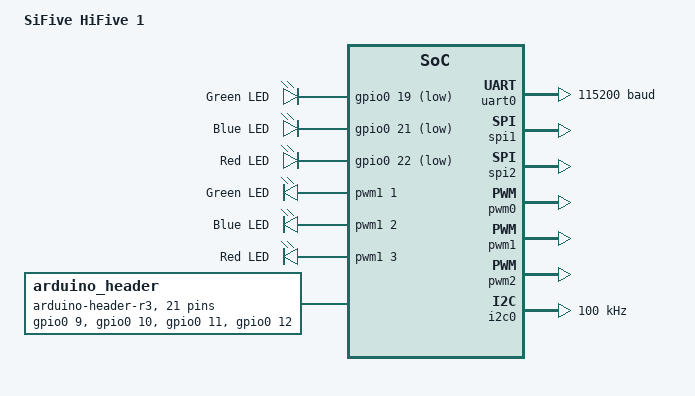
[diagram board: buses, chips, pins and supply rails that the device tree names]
/* Copyright (c) 2018 SiFive, Inc. */
/* SPDX-License-Identifier: Apache-2.0 */

/dts-v1/;

#include <sifive/riscv32-fe310.dtsi>
#include <zephyr/dt-bindings/gpio/arduino-header-r3.h>
#include <zephyr/dt-bindings/i2c/i2c.h>
#include "hifive1-pinctrl.dtsi"

/ {
	model = "SiFive HiFive 1";
	compatible = "sifive,hifive1";

	aliases {
		led0 = &led0;
		led1 = &led1;
		led2 = &led2;
		pwm-led0 = &pwmled0;
		pwm-led1 = &pwmled1;
		pwm-led2 = &pwmled2;
		watchdog0 = &wdog0;
	};

	chosen {
		zephyr,console = &uart0;
		zephyr,shell-uart = &uart0;
		zephyr,sram = &dtim;
		zephyr,flash = &flash0;
	};

	leds {
		compatible = "gpio-leds";

		led0: led_0 {
			gpios = <&gpio0 19 GPIO_ACTIVE_LOW>;
			label = "Green LED";
		};

		led1: led_1 {
			gpios = <&gpio0 21 GPIO_ACTIVE_LOW>;
			label = "Blue LED";
		};

		led2: led_2 {
			gpios = <&gpio0 22 GPIO_ACTIVE_LOW>;
			label = "Red LED";
		};
	};

	pwmleds {
		compatible = "pwm-leds";

		pwmled0: pwmled_0 {
			pwms = <&pwm1 1 PWM_MSEC(20)>;
			label = "Green LED";
		};

		pwmled1: pwmled_1 {
			pwms = <&pwm1 2 PWM_MSEC(20)>;
			label = "Blue LED";
		};

		pwmled2: pwmled_2 {
			pwms = <&pwm1 3 PWM_MSEC(20)>;
			label = "Red LED";
		};
	};

	arduino_header: connector {
		compatible = "arduino-header-r3";
		#gpio-cells = <2>;
		gpio-map-mask = <0xffffffff 0xffffffc0>;
		gpio-map-pass-thru = <0 0x3f>;
		gpio-map = /* A0 not connected */
			   <ARDUINO_HEADER_R3_A1 0 &gpio0 9 0>,		/* also CS2 */
			   <ARDUINO_HEADER_R3_A2 0 &gpio0 10 0>,	/* also WF_INT */
			   <ARDUINO_HEADER_R3_A3 0 &gpio0 11 0>,
			   <ARDUINO_HEADER_R3_A4 0 &gpio0 12 0>,
			   <ARDUINO_HEADER_R3_A5 0 &gpio0 13 0>,
			   <ARDUINO_HEADER_R3_D0 0 &gpio0 16 0>,	/* also TX */
			   <ARDUINO_HEADER_R3_D1 0 &gpio0 17 0>,	/* also RX */
			   <ARDUINO_HEADER_R3_D2 0 &gpio0 18 0>,
			   <ARDUINO_HEADER_R3_D3 0 &gpio0 19 0>,
			   <ARDUINO_HEADER_R3_D4 0 &gpio0 20 0>,
			   <ARDUINO_HEADER_R3_D5 0 &gpio0 21 0>,
			   <ARDUINO_HEADER_R3_D6 0 &gpio0 22 0>,
			   <ARDUINO_HEADER_R3_D7 0 &gpio0 23 0>,
			   <ARDUINO_HEADER_R3_D8 0 &gpio0 0 0>,
			   <ARDUINO_HEADER_R3_D9 0 &gpio0 1 0>,
			   <ARDUINO_HEADER_R3_D10 0 &gpio0 2 0>,
			   <ARDUINO_HEADER_R3_D11 0 &gpio0 3 0>,	/* also MOSI */
			   <ARDUINO_HEADER_R3_D12 0 &gpio0 4 0>,	/* also MISO */
			   <ARDUINO_HEADER_R3_D13 0 &gpio0 5 0>,	/* also SCK */
			   <ARDUINO_HEADER_R3_D14 0 &gpio0 12 0>,	/* also SDA */
			   <ARDUINO_HEADER_R3_D15 0 &gpio0 13 0>;	/* also SCL */
	};
};

&gpio0 {
	status = "okay";
};

&uart0 {
	status = "okay";
	current-speed = <115200>;
	pinctrl-0 = <&uart0_rx_default &uart0_tx_default>;
	pinctrl-names = "default";
};

/* disabled (used by Flash ROM by default) */
&spi0 {
	reg = <0x10014000 0x1000 0x20400000 0xc00000>;

	flash0: flash@0 {
		compatible = "issi,is25lp128", "jedec,spi-nor";
		status = "disabled";
		size = <134217728>;
		jedec-id = [96 60 18];
		reg = <0>;
		spi-max-frequency = <133000000>;
	};
};

&spi1 {
	status = "okay";
	pinctrl-0 = <&spi1_cs0_default &spi1_cs2_default &spi1_cs3_default
		     &spi1_mosi_default &spi1_miso_default &spi1_sck_default>;
	pinctrl-names = "default";
};

&spi2 {
	status = "okay";
};

&pwm0 {
	status = "okay";
};

&pwm1 {
	status = "okay";
	pinctrl-0 = <&pwm1_1_default &pwm1_2_default &pwm1_3_default>;
	pinctrl-names = "default";
};

&pwm2 {
	status = "okay";
	pinctrl-0 = <&pwm2_1_default &pwm2_2_default &pwm2_3_default>;
	pinctrl-names = "default";
};

arduino_i2c: &i2c0 {
	status = "okay";
	clock-frequency = <100000>;
	pinctrl-0 = <&i2c0_0_default &i2c0_1_default>;
	pinctrl-names = "default";
};
